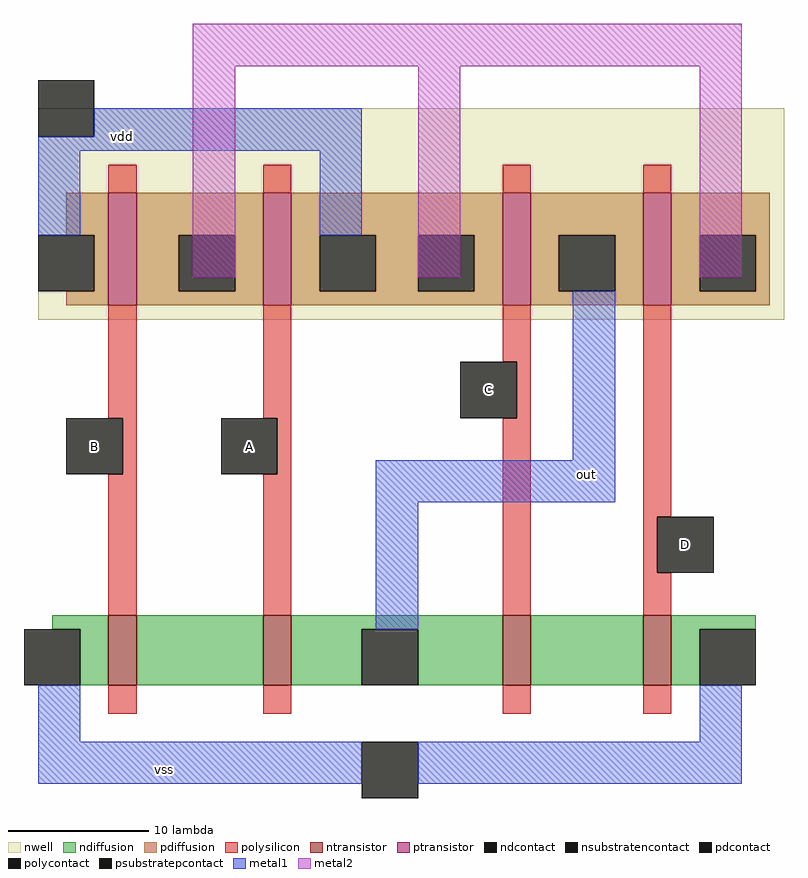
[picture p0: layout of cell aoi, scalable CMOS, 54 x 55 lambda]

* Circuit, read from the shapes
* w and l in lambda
.subckt aoi A B C D out vdd vss
M1 n1 B vss vss nfet w=5 l=2
M2 out A n1 vss nfet w=5 l=2
M3 n2 C out vss nfet w=5 l=2
M4 vss D n2 vss nfet w=5 l=2
M5 n3 B vdd vdd pfet w=8 l=2
M6 vdd A n3 vdd pfet w=8 l=2
M7 out C vdd vdd pfet w=8 l=2
M8 n4 D out vdd pfet w=8 l=2
.ends

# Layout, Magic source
magic
tech scmos
<< nwell >>
rect -16 1 37 16
<< polysilicon >>
rect -11 10 -9 12
rect 0 10 2 12
rect 17 10 19 12
rect 27 10 29 12
rect -11 -6 -9 2
rect 0 -6 2 2
rect 17 -2 19 2
rect 18 -6 19 -2
rect -10 -10 -9 -6
rect 1 -10 2 -6
rect -11 -20 -9 -10
rect 0 -20 2 -10
rect 17 -20 19 -6
rect 27 -13 29 2
rect 27 -17 28 -13
rect 27 -20 29 -17
rect -11 -27 -9 -25
rect 0 -27 2 -25
rect 17 -27 19 -25
rect 27 -27 29 -25
<< ndiffusion >>
rect -15 -21 -11 -20
rect -13 -25 -11 -21
rect -9 -25 0 -20
rect 2 -21 17 -20
rect 2 -25 7 -21
rect 11 -25 17 -21
rect 19 -25 27 -20
rect 29 -21 35 -20
rect 29 -25 31 -21
<< pdiffusion >>
rect -14 7 -11 10
rect -12 3 -11 7
rect -14 2 -11 3
rect -9 7 0 10
rect -9 3 -6 7
rect -2 3 0 7
rect -9 2 0 3
rect 2 7 17 10
rect 2 3 4 7
rect 8 3 11 7
rect 15 3 17 7
rect 2 2 17 3
rect 19 7 27 10
rect 19 3 21 7
rect 25 3 27 7
rect 19 2 27 3
rect 29 7 36 10
rect 29 3 31 7
rect 35 3 36 7
rect 29 2 36 3
<< metal1 >>
rect -12 14 7 16
rect -16 13 7 14
rect -16 7 -13 13
rect 4 7 7 13
rect 22 -9 25 3
rect 8 -12 25 -9
rect 8 -21 11 -12
rect -16 -29 -13 -25
rect 31 -29 34 -25
rect -16 -32 7 -29
rect 11 -32 34 -29
<< metal2 >>
rect -5 19 34 22
rect -5 4 -2 19
rect 11 4 14 19
rect 31 4 34 19
<< ntransistor >>
rect -11 -25 -9 -20
rect 0 -25 2 -20
rect 17 -25 19 -20
rect 27 -25 29 -20
<< ptransistor >>
rect -11 2 -9 10
rect 0 2 2 10
rect 17 2 19 10
rect 27 2 29 10
<< polycontact >>
rect 14 -6 18 -2
rect -14 -10 -10 -6
rect -3 -10 1 -6
rect 28 -17 32 -13
<< ndcontact >>
rect -17 -25 -13 -21
rect 7 -25 11 -21
rect 31 -25 35 -21
<< pdcontact >>
rect -16 3 -12 7
rect -6 3 -2 7
rect 4 3 8 7
rect 11 3 15 7
rect 21 3 25 7
rect 31 3 35 7
<< psubstratepcontact >>
rect 7 -33 11 -29
<< nsubstratencontact >>
rect -16 14 -12 18
<< labels >>
rlabel metal1 23 -10 23 -10 3 out
rlabel metal1 -7 -31 -7 -31 1 vss
rlabel polycontact -12 -8 -12 -8 1 B
rlabel polycontact -1 -8 -1 -8 1 A
rlabel polycontact 16 -4 16 -4 1 C
rlabel polycontact 30 -15 30 -15 1 D
rlabel metal1 -10 14 -10 14 1 vdd
<< end >>
